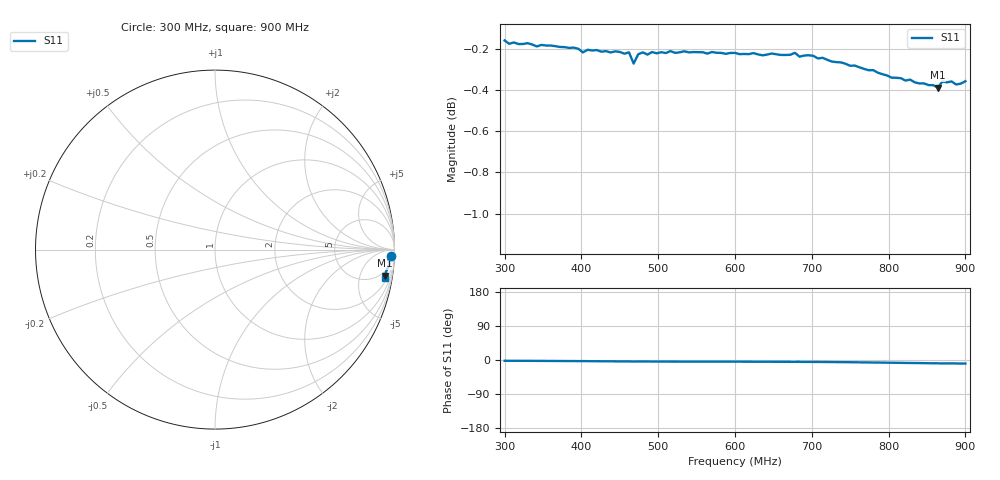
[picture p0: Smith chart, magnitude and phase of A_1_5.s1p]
# HZ S RI R 50
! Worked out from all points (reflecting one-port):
!   101 points, 300 MHz to 900 MHz, reference 50 ohm
!   lowest |S11| = -0.4 dB at 864 MHz (marker M1), VSWR 44.79, Z = 176 - j601 ohm
!   phase of S11 starts at -2 deg and turns -7 deg over the sweep
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3e8  0.9813 -0.0352
3.06e8  0.9794 -0.0356
3.36e8  0.9789 -0.0388
3.78e8  0.9772 -0.0469
3.9e8  0.9769 -0.0472
3.96e8  0.9761 -0.0505
4.02e8  0.9742 -0.0485
4.08e8  0.9754 -0.0527
4.5e8  0.9737 -0.062
4.62e8  0.9733 -0.0635
4.68e8  0.9669 -0.0678
4.74e8  0.9722 -0.0651
4.8e8  0.9731 -0.0664
5.28e8  0.9728 -0.0719
6e8  0.9722 -0.0746
6.36e8  0.9706 -0.0782
6.78e8  0.9717 -0.0821
6.84e8  0.9697 -0.0814
6.9e8  0.97 -0.0844
7.08e8  0.9682 -0.087
7.5e8  0.963 -0.0992
7.86e8  0.9578 -0.1126
8.28e8  0.9517 -0.1312
8.64e8  0.9451 -0.1459
8.7e8  0.948 -0.1491
8.82e8  0.948 -0.1493
8.94e8  0.9457 -0.1558
9e8  0.9469 -0.1564
